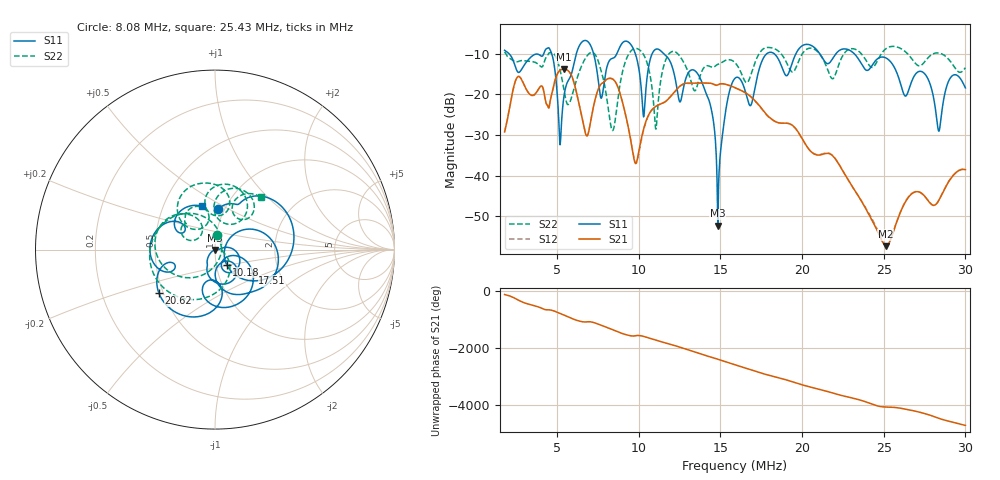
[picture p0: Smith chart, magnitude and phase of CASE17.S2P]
!Agilent Technologies,E5061B,MY49101568,A.02.00
!Date: Wed Mar 01 16:37:36 2023
!Data & Calibration Information:
!Freq	S11:SOLT2(OFF)	S21:SOLT2(OFF)	S12:SOLT2(OFF)	S22:SOLT2(OFF)
# Hz S dB R 50
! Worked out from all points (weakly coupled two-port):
!   1155 points, 1.8 MHz to 30 MHz, reference 50 ohm
!   highest |S21| = -13.77 dB at 5.417 MHz (marker M1); lowest = -57.3 dB at 25.14 MHz (marker M2)
!   lowest |S11| = -52.3 dB at 14.85 MHz (marker M3), VSWR 1.00, Z = 50.1 - j0.236 ohm
!   |S11| at or under -10 dB: 2.075 MHz to 4.194 MHz (2.119 MHz wide, 67.6 % of centre); 11.54 MHz to 17.84 MHz (6.299 MHz wide, 42.9 % of centre); 23.2 MHz to end of sweep (the widest 3 of 8)
!   |S22| runs from -28.9 to -8.2 dB; largest |S21 - S12| = 0.0025
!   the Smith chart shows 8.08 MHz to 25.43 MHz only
!   S11 on the Smith chart (normalised r, x): 8.08 MHz: 0.93, +0.44; 10.18 MHz: 1.12, -0.19; 17.51 MHz: 1.47, -0.40; 20.62 MHz: 0.47, -0.27; 25.43 MHz: 0.78, +0.40
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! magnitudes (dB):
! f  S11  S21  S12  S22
! 1.8 MHz  -9.1  -29.2  -29.2  -9.5
! 2.631 MHz  -14.6  -15.6  -15.5  -11.9
! 4.512 MHz  -8.5  -23.3  -23.3  -9.9
! 5.172 MHz  -31.5  -14.1  -14.1  -13.6
! 5.417 MHz  -20.9  -13.8  -13.8  -18.5
! 6.516 MHz  -7.2  -25.3  -25.4  -12.9
! 8.08 MHz  -13.0  -16.2  -16.2  -21.6
! 8.447 MHz  -11.1  -16.3  -16.3  -28.7
! 9.4 MHz  -7.2  -28.7  -28.6  -10.1
! 10.18 MHz  -19.5  -30.6  -31.0  -9.5
! 11.21 MHz  -8.9  -22.6  -22.6  -21.5
! 11.97 MHz  -12.2  -20.5  -20.5  -9.6
! 13.8 MHz  -16.3  -17.2  -17.2  -15.0
! 14.85 MHz  -52.3  -17.7  -17.7  -12.6
! 15.9 MHz  -16.0  -18.3  -18.4  -12.2
! 17.51 MHz  -12.2  -23.3  -23.5  -9.2
! 20.62 MHz  -8.1  -34.3  -34.3  -8.7
! 25.14 MHz  -11.0  -57.3  -57.0  -8.8
! 25.31 MHz  -11.5  -56.7  -56.7  -8.4
! 25.43 MHz  -12.0  -55.6  -55.4  -8.2
! 28.36 MHz  -29.0  -46.1  -46.1  -9.8
! 30 MHz  -18.4  -38.5  -38.4  -13.4
